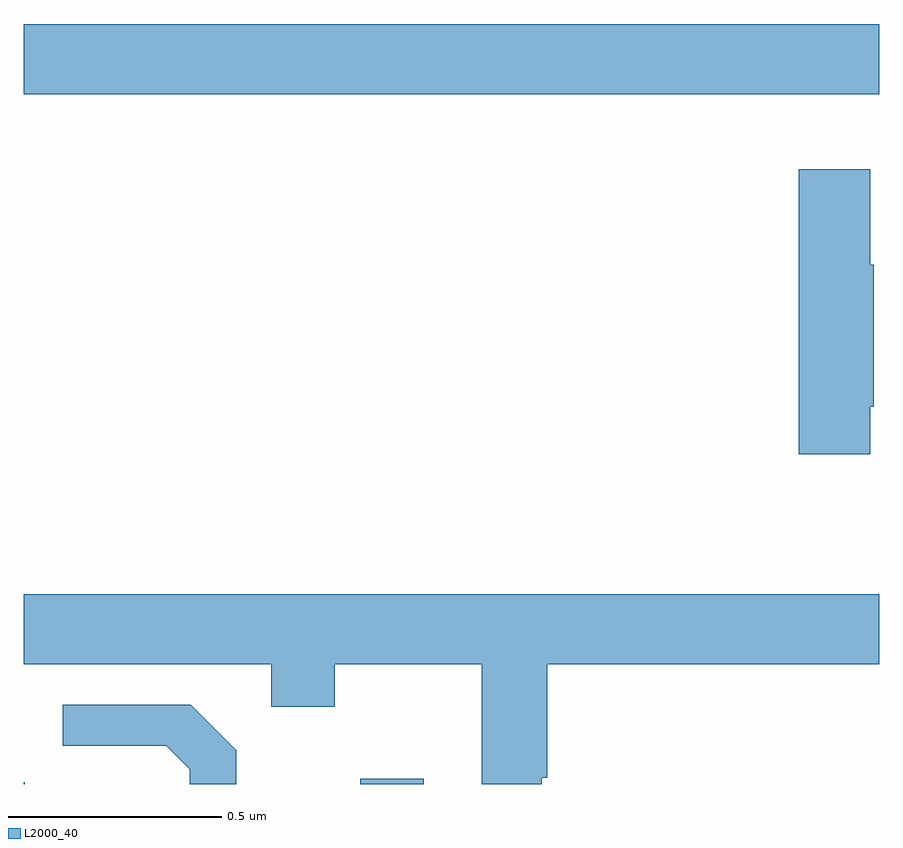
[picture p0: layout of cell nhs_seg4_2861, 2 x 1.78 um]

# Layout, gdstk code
import gdstk
lib = gdstk.Library(unit=1e-6, precision=1e-09)
def R(c, l, rs):  # rectangles x0, y0, x1, y1
    for r in rs: c.add(gdstk.rectangle(r[:2], r[2:], *l))
def P(c, l, *ps):  # polygons
    for p in ps: c.add(gdstk.Polygon(p, *l))
L2000_40 = (2000, 40)

nhs_seg4_2861 = lib.new_cell('nhs_seg4_2861')
R(nhs_seg4_2861, L2000_40, [(146,769.9,146.003,769.904), (146.787,769.9,146.935,769.912), (146,771.512,148,771.676)])
P(nhs_seg4_2861, L2000_40, [(147.979,770.782),(147.987,770.782),(147.987,771.113),(147.979,771.113),(147.979,771.337),(147.812,771.337),(147.812,770.67),(147.979,770.67)],
  [(147.211,769.915),(147.224,769.915),(147.224,770.18),(148,770.18),(148,770.344),(146,770.344),(146,770.18),(146.579,770.18),(146.579,770.081),(146.727,770.081),(146.727,770.18),(147.071,770.18),(147.071,769.9),(147.211,769.9)],
  [(146.497,769.979),(146.391,770.085),(146.091,770.085),(146.091,769.989),(146.334,769.989),(146.388,769.935),(146.388,769.9),(146.497,769.9)])

lib.write_gds('nhs_seg4_2861.gds')
